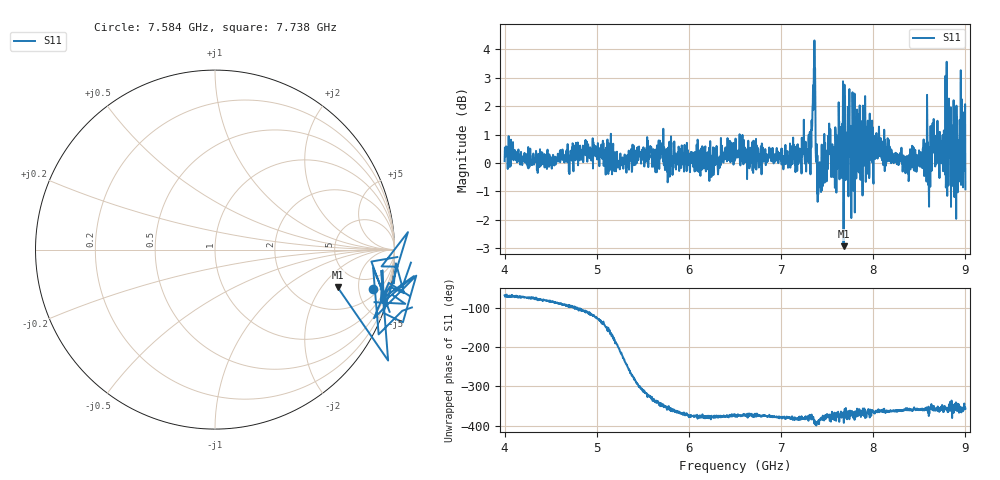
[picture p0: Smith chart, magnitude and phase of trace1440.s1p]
! Created with skrf 1.8.0 (http://scikit-rf.org).
# Hz S RI R 50.0
!freq ReS11 ImS11
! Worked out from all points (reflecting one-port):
!   1601 points, 4 GHz to 9 GHz, reference 50 ohm
!   lowest |S11| = -2.9 dB at 7.678 GHz (marker M1), VSWR 6.00, Z = 170 - j145 ohm
!   phase of S11 starts at -69 deg and turns -288 deg over the sweep
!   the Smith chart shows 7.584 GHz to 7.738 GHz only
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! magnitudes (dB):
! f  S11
! 4 GHz  0.1
! 4.625 GHz  0.1
! 5.25 GHz  -0.2
! 5.709 GHz  0.3
! 5.753 GHz  0.0
! 5.875 GHz  0.1
! 6.5 GHz  0.3
! 7.125 GHz  0.3
! 7.297 GHz  0.8
! 7.347 GHz  2.7
! 7.369 GHz  3.3
! 7.4 GHz  -0.3
! 7.412 GHz  -0.9
! 7.509 GHz  -0.2
! 7.559 GHz  0.2
! 7.65 GHz  0.8
! 7.678 GHz  -2.9
! 7.75 GHz  1.1
! 7.784 GHz  -1.0
! 7.891 GHz  0.0
! 8.375 GHz  -0.4
! 8.562 GHz  -0.4
! 8.616 GHz  0.3
! 8.647 GHz  0.5
! 8.816 GHz  -0.8
! 8.875 GHz  0.8
! 8.972 GHz  0.0
! 9 GHz  -0.9
